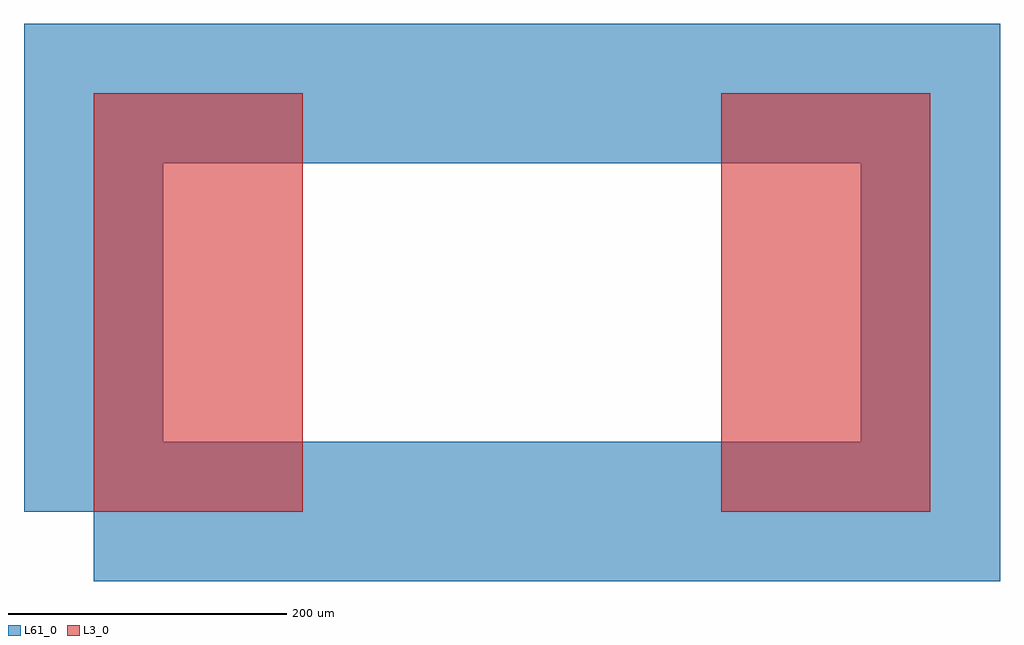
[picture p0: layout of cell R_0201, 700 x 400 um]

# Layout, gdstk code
import gdstk
lib = gdstk.Library(unit=1e-6, precision=1e-09)
def R(c, l, rs):  # rectangles x0, y0, x1, y1
    for r in rs: c.add(gdstk.rectangle(r[:2], r[2:], *l))
L3_0 = (3, 0)
L61_0 = (61, 0)

r_0201 = lib.new_cell('R_0201')
R(r_0201, L3_0, [(-300,-150,-150,150), (150,-150,300,150)])
r_0201.add(gdstk.FlexPath([(-300,-150),(300,-150),(300,150),(-300,150),(-300,-150)], 100, ends="flush", simple_path=True, layer=61, datatype=0))  # L61_0

lib.write_gds('R_0201.gds')
